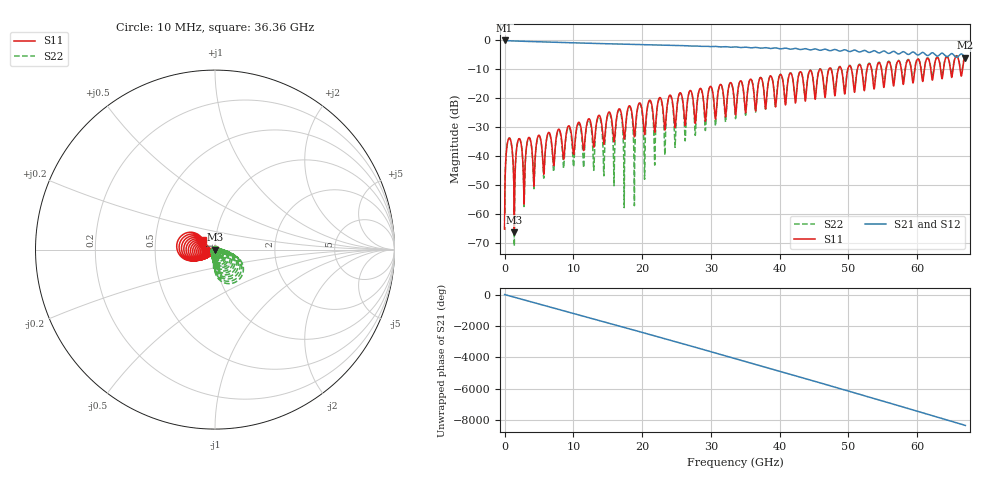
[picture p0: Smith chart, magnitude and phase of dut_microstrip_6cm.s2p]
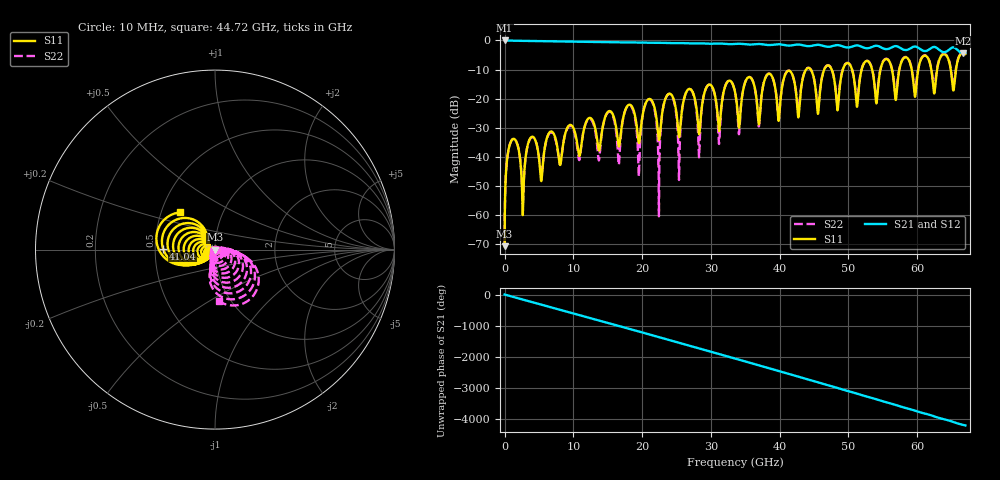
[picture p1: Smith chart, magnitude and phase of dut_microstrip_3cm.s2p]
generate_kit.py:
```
#!/usr/bin/env python3
"""
generate_kit.py - kit370 S-parameter Synthesis

Generates virtual P370 kit S-parameter files using scikit-rf.

Author: Giorgi Maghlakelidze
License: BSD-3-Clause
"""

import numpy as np
import matplotlib.pyplot as plt
from pathlib import Path

from utils import create_frequency, create_microstrip_network, create_connector_model

# =============================================================================
# Configuration
# =============================================================================

# Output directory
OUTPUT_DIR = Path("../kit370")

# Frequency setup
F_START = 10e6      # 10 MHz
F_STOP = 67e9       # 67 GHz
F_POINTS = 6701     # ~10 MHz steps

# Material: Rogers RO4350B-euqivalent
DK = 3.48           # Dielectric constant
DF = 0.0037         # Loss tangent (dissipation factor)
F_DK_REF = 10e9     # Frequency at which DK and DF are quoted (Hz)

# Geometry (microstrip on 10 mil dielectric)
H_DIELECTRIC = 0.254e-3     # 10 mil in meters
W_TRACE = 0.559e-3          # ~22 mil for 50 ohm on RO4350B
T_COPPER = 35e-6            # 1 oz copper (35 um)
RMS_ROUGHNESS = 0.5e-6      # 0.5 um RMS surface roughness

# =============================================================================
# Quality checks (scikit-rf; SQualCheck gates come later)
# =============================================================================

def quality_report(ntwk):
    """
    Print passivity and reciprocity from scikit-rf's Network tests.

    Returns True when both pass.
    """
    passive = ntwk.is_passive()
    reciprocal = ntwk.is_reciprocal()
    p_max = np.abs(ntwk.passivity).max()      # sqrt(S^H S) entries, <= 1 when passive
    r_max = ntwk.reciprocity.max().real       # |S - S^T| (skrf stores it in a complex array)

    print(f"\n{ntwk.name}")
    print(f"  Passivity   (Network.is_passive):    {'PASS' if passive else 'FAIL'}   max sqrt(S^H S) = {p_max:.6f}")
    print(f"  Reciprocity (Network.is_reciprocal): {'PASS' if reciprocal else 'FAIL'}   max |S - S^T| = {r_max:.1e}")
    return passive and reciprocal


# =============================================================================
# Plotting Functions
# =============================================================================
# =============================================================================

def plot_tdr(ntwk, ax, color='blue', label=None, kaiser_beta=6):
    """
    Step-response TDR impedance via scikit-rf.

    S11 is extrapolated to DC, then ``Network.plot_z_time_step`` windows,
    pads, integrates to the step response and converts to impedance at the
    port reference. ``pad = N`` gives scikit-rf's ``2(N + pad) - 1`` points,
    i.e. the 4x zero padding convention.
    """
    s11 = ntwk.s11.extrapolate_to_dc(kind='linear')
    s11.plot_z_time_step(m=0, n=0, ax=ax, window=('kaiser', kaiser_beta), pad=len(s11.f),
                         color=color, label=label or ntwk.name)


def create_comparison_plot(networks, colors, output_path=None):
    """
    Create comparison plot with S11, S21, and TDR for multiple networks.
    
    Parameters
    ----------
    networks : list of rf.Network
        Networks to compare
    colors : list of str
        Colors for each network
    output_path : Path, optional
        If provided, save figure to this path
    """
    fig, axes = plt.subplots(3, 2, figsize=(12, 10))
    fig.suptitle('kit370 - Microstrip Comparison', fontsize=14, fontweight='bold')
    
    ax_s11_mag = axes[0, 0]
    ax_s11_phase = axes[1, 0]
    ax_s21_mag = axes[0, 1]
    ax_s21_phase = axes[1, 1]
    ax_tdr = axes[2, 0]
    ax_info = axes[2, 1]
    
    # Plot each network. scikit-rf plots in the Frequency object's unit, so
    # plot from copies switched to GHz; the originals keep Hz for file output.
    for ntwk, color in zip(networks, colors):
        n_ghz = ntwk.copy()
        n_ghz.frequency.unit = 'GHz'
        n_ghz.plot_s_db(m=0, n=0, ax=ax_s11_mag, color=color, label=ntwk.name)
        n_ghz.plot_s_deg_unwrap(m=0, n=0, ax=ax_s11_phase, color=color, label=ntwk.name, linestyle='--')
        n_ghz.plot_s_db(m=1, n=0, ax=ax_s21_mag, color=color, label=ntwk.name)
        n_ghz.plot_s_deg_unwrap(m=1, n=0, ax=ax_s21_phase, color=color, label=ntwk.name, linestyle='--')
        plot_tdr(ntwk, ax_tdr, color=color, label=ntwk.name)
    
    # Format S11 magnitude
    ax_s11_mag.set_xlabel('Frequency (GHz)')
    ax_s11_mag.set_ylabel('S11 (dB)')
    ax_s11_mag.set_title('S11 Magnitude (Return Loss)')
    ax_s11_mag.legend()
    ax_s11_mag.grid(True, alpha=0.3)
    ax_s11_mag.set_xlim([0, F_STOP])   # scikit-rf plots in Hz and scales the tick labels
    ax_s11_mag.set_ylim([-40, 0])
    
    # Format S11 phase
    ax_s11_phase.set_xlabel('Frequency (GHz)')
    ax_s11_phase.set_ylabel('Phase (degrees)')
    ax_s11_phase.set_title('S11 Unwrapped Phase')
    ax_s11_phase.legend()
    ax_s11_phase.grid(True, alpha=0.3)
    ax_s11_phase.set_xlim([0, F_STOP])   # scikit-rf plots in Hz and scales the tick labels
    
    # Format S21 magnitude
    ax_s21_mag.set_xlabel('Frequency (GHz)')
    ax_s21_mag.set_ylabel('S21 (dB)')
    ax_s21_mag.set_title('S21 Magnitude (Insertion Loss)')
    ax_s21_mag.legend()
    ax_s21_mag.grid(True, alpha=0.3)
    ax_s21_mag.set_xlim([0, F_STOP])   # scikit-rf plots in Hz and scales the tick labels
    ax_s21_mag.set_ylim([-6, 0])
    
    # Format S21 phase
    ax_s21_phase.set_xlabel('Frequency (GHz)')
    ax_s21_phase.set_ylabel('Phase (degrees)')
    ax_s21_phase.set_title('S21 Unwrapped Phase')
    ax_s21_phase.legend()
    ax_s21_phase.grid(True, alpha=0.3)
    ax_s21_phase.set_xlim([0, F_STOP])   # scikit-rf plots in Hz and scales the tick labels
    
    # Format TDR
    ax_tdr.set_xlabel('Time (ns)')
    ax_tdr.set_ylabel('Impedance (Ω)')
    ax_tdr.set_title('TDR Impedance Profile')
    ax_tdr.legend()
    ax_tdr.grid(True, alpha=0.3)
    ax_tdr.set_xlim([-1, 1])
    ax_tdr.set_ylim([40, 60])
    ax_tdr.axhline(y=50, color='gray', linestyle='--', alpha=0.7, label='50Ω ref')
    
    # Info panel
    ax_info.axis('off')
    info_text = "Specifications:\n"
    info_text += f"  Material: RO4350B (Dk={DK}, Df={DF})\n"
    info_text += f"  Dielectric height: {H_DIELECTRIC*1e3:.2f} mm ({H_DIELECTRIC/0.0254*1000:.1f} mil)\n"
    info_text += f"  Trace width: {W_TRACE*1e3:.3f} mm ({W_TRACE/0.0254*1000:.1f} mil)\n"
    info_text += f"  Copper: {T_COPPER*1e6:.0f} µm (1 oz)\n"
    info_text += f"  Surface roughness: {RMS_ROUGHNESS*1e6:.1f} µm RMS\n"
    info_text += f"\nFrequency: {F_START/1e6:.0f} MHz - {F_STOP/1e9:.0f} GHz\n"
    info_text += f"Points: {F_POINTS}\n"
    
    # Add calculated Z0_line at the Dk reference frequency
    if hasattr(networks[0], 'params'):
        i_ref = int(np.argmin(np.abs(networks[0].f - F_DK_REF)))
        info_text += f"\nZ0_line at {F_DK_REF/1e9:.0f} GHz: {networks[0].params['Z0_line'][i_ref].real:.2f} Ω\n"
        info_text += f"Effective εr at {F_DK_REF/1e9:.0f} GHz: {networks[0].params['er_eff'][i_ref].real:.3f}"
    
    ax_info.text(0.1, 0.9, info_text, transform=ax_info.transAxes,
                 fontsize=10, verticalalignment='top', fontfamily='monospace',
                 bbox=dict(boxstyle='round', facecolor='wheat', alpha=0.5))
    
    plt.tight_layout()
    
    if output_path:
        plt.savefig(output_path, dpi=150, bbox_inches='tight')
        print(f"Saved plot: {output_path}")
    
    return fig


# =============================================================================
# Main Kit Generation
# =============================================================================

def generate_microstrip_duts():
    """Generate the microstrip DUT files."""
    
    print("="*60)
    print("kit370 - Generating Microstrip DUTs")
    print("="*60)
    
    # Create output directory
    OUTPUT_DIR.mkdir(exist_ok=True)
    
    # Create frequency
    freq = create_frequency(F_START, F_STOP, F_POINTS)
    print(f"\nFrequency: {freq.start/1e6:.0f} MHz - {freq.stop/1e9:.0f} GHz, {freq.npoints} points")

    # Lumped connector launch, cascaded on both ends of each line
    conn = create_connector_model(freq, L=100e-12, C=50e-15)
    
    # Generate 6cm microstrip
    print("\nGenerating 6cm microstrip...")
    ms_6cm = create_microstrip_network(
        freq, 
        length_m=0.06,  # 6 cm
        w=W_TRACE, h=H_DIELECTRIC, t=T_COPPER,
        er=DK, tand=DF, f_er_tand=F_DK_REF, roughness=RMS_ROUGHNESS,
        connector=conn,
        name="dut_microstrip_6cm"
    )
    
    # Generate 3cm microstrip
    print("Generating 3cm microstrip...")
    ms_3cm = create_microstrip_network(
        freq,
        length_m=0.03,  # 3 cm
        w=W_TRACE, h=H_DIELECTRIC, t=T_COPPER,
        er=DK, tand=DF, f_er_tand=F_DK_REF, roughness=RMS_ROUGHNESS,
        connector=conn,
        name="dut_microstrip_3cm"
    )
    
    # Print calculated parameters
    i_ref = int(np.argmin(np.abs(freq.f - F_DK_REF)))
    print(f"\nMicrostrip parameters at {freq.f[i_ref]/1e9:.0f} GHz:")
    print(f"  Characteristic impedance: {ms_6cm.params['Z0_line'][i_ref].real:.2f} Ω")
    print(f"  Effective permittivity: {ms_6cm.params['er_eff'][i_ref].real:.3f}")
    
    # Quality check
    print("\n--- Quality Checks ---")
    quality_report(ms_6cm)
    quality_report(ms_3cm)
    
    # Save touchstone files
    ts_6cm = OUTPUT_DIR / "dut_microstrip_6cm.s2p"
    ts_3cm = OUTPUT_DIR / "dut_microstrip_3cm.s2p"
    
    ms_6cm.write_touchstone(ts_6cm)
    print(f"Saved: {ts_6cm}")
    
    ms_3cm.write_touchstone(ts_3cm)
    print(f"Saved: {ts_3cm}")
    
    # Create comparison plot
    print("\nGenerating comparison plot...")
    plot_path = OUTPUT_DIR / "microstrip_comparison.png"
    create_comparison_plot(
        networks=[ms_6cm, ms_3cm],
        colors=['blue', 'red'],
        output_path=plot_path
    )
    
    print("\n" + "="*60)
    print("Generation complete!")
    print("="*60)
    
    return ms_6cm, ms_3cm


# =============================================================================
# Entry Point
# =============================================================================

if __name__ == "__main__":
    generate_microstrip_duts()
    plt.show()
```
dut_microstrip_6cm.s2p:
! Created with skrf 2.1.0 (http://scikit-rf.org).
# Hz S RI R 50.0
!freq ReS11 ImS11 ReS21 ImS21 ReS12 ImS12 ReS22 ImS22
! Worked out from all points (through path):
!   6701 points, 10 MHz to 67 GHz, reference 50 ohm
!   highest |S21| = -0.01 dB at 10 MHz (marker M1); lowest = -6.0 dB at 67 GHz (marker M2)
!   lowest |S11| = -66.3 dB at 1.42 GHz (marker M3), VSWR 1.00, Z = 50 - j0.00642 ohm
!   |S11| at or under -10 dB: start of sweep to 45.82 GHz; 45.96 GHz to 47.15 GHz (1.194 GHz wide, 2.57 % of centre); 47.49 GHz to 48.53 GHz (1.034 GHz wide, 2.15 % of centre)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
!   |S22| runs from -71.1 to -5.2 dB; largest |S21 - S12| = 3.3e-15
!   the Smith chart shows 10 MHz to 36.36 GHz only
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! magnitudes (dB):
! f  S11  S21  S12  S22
! 10 MHz  -65.2  0.0  0.0  -65.2
! 579.9 MHz  -34.0  -0.1  -0.1  -34.0
! 1.42 GHz  -66.3  -0.2  -0.2  -71.1
! 2.12 GHz  -33.9  -0.3  -0.3  -34.0
! 2.85 GHz  -56.1  -0.3  -0.3  -57.2
! 16.67 GHz  -23.6  -1.3  -1.3  -24.0
! 17.39 GHz  -34.0  -1.3  -1.3  -57.2
! 18.13 GHz  -22.6  -1.4  -1.4  -22.9
! 18.87 GHz  -33.2  -1.4  -1.4  -56.5
! 33.51 GHz  -24.2  -2.2  -2.2  -25.2
! 67 GHz  -5.4  -6.0  -6.0  -5.2
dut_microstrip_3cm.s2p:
! Created with skrf 2.1.0 (http://scikit-rf.org).
# Hz S RI R 50.0
!freq ReS11 ImS11 ReS21 ImS21 ReS12 ImS12 ReS22 ImS22
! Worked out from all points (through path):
!   6701 points, 10 MHz to 67 GHz, reference 50 ohm
!   highest |S21| = -0.01 dB at 10 MHz (marker M1); lowest = -4.4 dB at 66.68 GHz (marker M2)
!   group delay of S21, straight-line fit = 175 ps
!   lowest |S11| = -70.7 dB at 10 MHz (marker M3), VSWR 1.00, Z = 50 - j0.0289 ohm
!   |S11| at or under -10 dB: start of sweep to 43.84 GHz; 44.52 GHz to 46.48 GHz (1.96 GHz wide, 4.31 % of centre); 47.56 GHz to 49.19 GHz (1.625 GHz wide, 3.36 % of centre)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
!   |S22| runs from -70.7 to -4.2 dB; largest |S21 - S12| = 8.5e-15
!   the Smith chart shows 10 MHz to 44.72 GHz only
!   S11 on the Smith chart (normalised r, x): 10 MHz: 1.00, -0.00; 41.04 GHz: 0.55, +0.01; 44.72 GHz: 0.63, +0.28
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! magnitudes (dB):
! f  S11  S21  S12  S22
! 10 MHz  -70.7  0.0  0.0  -70.7
! 1.22 GHz  -33.9  -0.1  -0.1  -33.9
! 2.66 GHz  -59.9  -0.1  -0.1  -56.2
! 3.949 GHz  -33.1  -0.2  -0.2  -33.3
! 21.06 GHz  -20.1  -0.8  -0.8  -20.2
! 22.44 GHz  -34.2  -0.8  -0.8  -59.3
! 33.51 GHz  -17.6  -1.2  -1.2  -17.8
! 41.04 GHz  -10.8  -1.7  -1.7  -10.7
! 44.72 GHz  -10.9  -1.8  -1.8  -10.9
! 66.68 GHz  -4.3  -4.4  -4.4  -4.2
! 67 GHz  -4.6  -4.2  -4.2  -4.5
